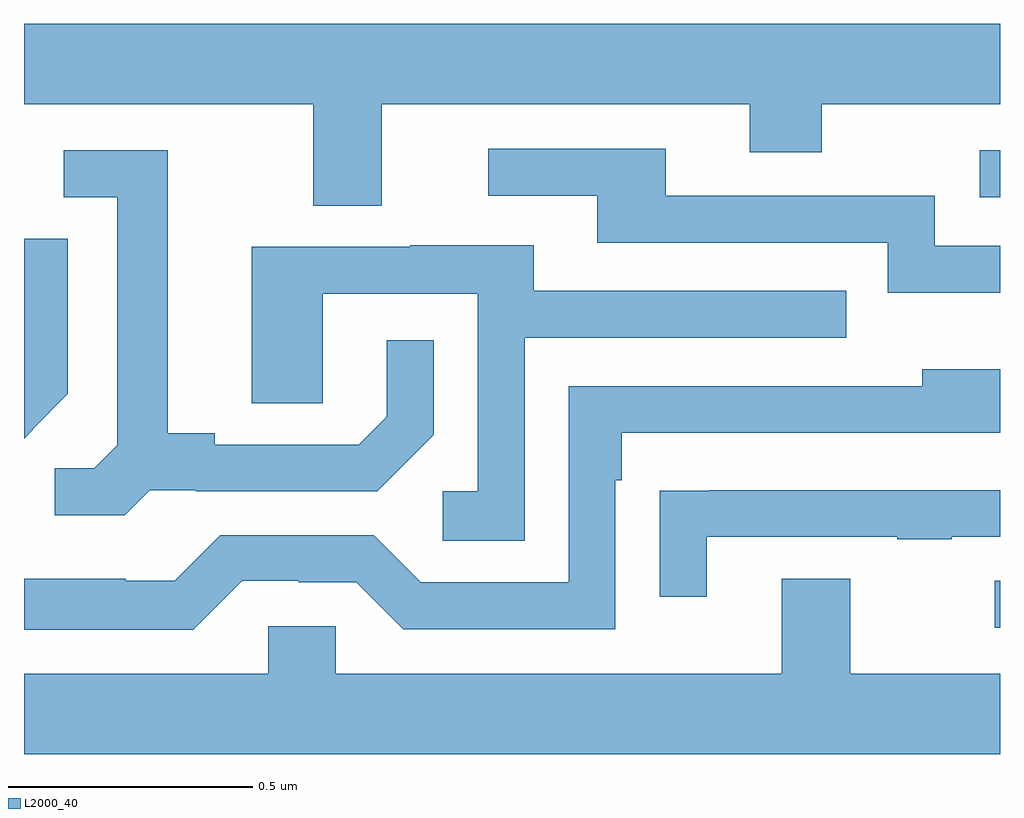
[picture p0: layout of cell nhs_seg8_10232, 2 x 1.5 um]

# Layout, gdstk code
import gdstk
lib = gdstk.Library(unit=1e-6, precision=1e-09)
def R(c, l, rs):  # rectangles x0, y0, x1, y1
    for r in rs: c.add(gdstk.rectangle(r[:2], r[2:], *l))
def P(c, l, *ps):  # polygons
    for p in ps: c.add(gdstk.Polygon(p, *l))
L2000_40 = (2000, 40)

nhs_seg8_10232 = lib.new_cell('nhs_seg8_10232')
R(nhs_seg8_10232, L2000_40, [(247.989,1159.383,248,1159.479), (247.959,1160.265,248,1160.361)])
P(nhs_seg8_10232, L2000_40, [(246,1160.456),(246.593,1160.456),(246.593,1160.248),(246.733,1160.248),(246.733,1160.456),(247.487,1160.456),(247.487,1160.357),(247.635,1160.357),(247.635,1160.456),(248,1160.456),(248,1160.62),(246,1160.62)],
  [(248,1160.166),(247.866,1160.166),(247.866,1160.268),(247.315,1160.268),(247.315,1160.364),(246.951,1160.364),(246.951,1160.268),(247.175,1160.268),(247.175,1160.172),(247.77,1160.172),(247.77,1160.069),(248,1160.069)],
  [(246.258,1159.665),(246.352,1159.665),(246.352,1159.662),(246.724,1159.662),(246.84,1159.778),(246.84,1159.972),(246.743,1159.972),(246.743,1159.815),(246.686,1159.758),(246.391,1159.758),(246.391,1159.781),(246.295,1159.781),(246.295,1160.361),(246.081,1160.361),(246.081,1160.265),(246.191,1160.265),(246.191,1159.757),(246.144,1159.71),(246.063,1159.71),(246.063,1159.613),(246.206,1159.613)],
  [(246.018,1159.788),(246.017,1159.789),(246.09,1159.862),(246.09,1160.18),(246,1160.18),(246,1159.77)],
  [(247.026,1159.977),(247.685,1159.977),(247.685,1160.073),(247.045,1160.073),(247.045,1160.167),(246.791,1160.167),(246.791,1160.163),(246.467,1160.163),(246.467,1159.843),(246.612,1159.843),(246.612,1160.067),(246.93,1160.067),(246.93,1159.662),(246.858,1159.662),(246.858,1159.561),(247.026,1159.561)],
  [(246.447,1159.479),(246.563,1159.479),(246.563,1159.476),(246.681,1159.476),(246.777,1159.38),(247.212,1159.38),(247.212,1159.685),(247.225,1159.685),(247.225,1159.782),(248,1159.782),(248,1159.912),(247.841,1159.912),(247.841,1159.878),(247.116,1159.878),(247.116,1159.476),(246.813,1159.476),(246.717,1159.572),(246.402,1159.572),(246.309,1159.479),(246.209,1159.479),(246.209,1159.483),(246,1159.483),(246,1159.379),(246.347,1159.379)],
  [(247.399,1159.569),(247.789,1159.569),(247.789,1159.564),(247.901,1159.564),(247.901,1159.569),(248,1159.569),(248,1159.665),(247.405,1159.665),(247.405,1159.664),(247.303,1159.664),(247.303,1159.446),(247.399,1159.446)],
  [(248,1159.288),(247.693,1159.288),(247.693,1159.483),(247.553,1159.483),(247.553,1159.288),(246.639,1159.288),(246.639,1159.386),(246.501,1159.386),(246.501,1159.288),(246,1159.288),(246,1159.124),(248,1159.124)])

lib.write_gds('nhs_seg8_10232.gds')
